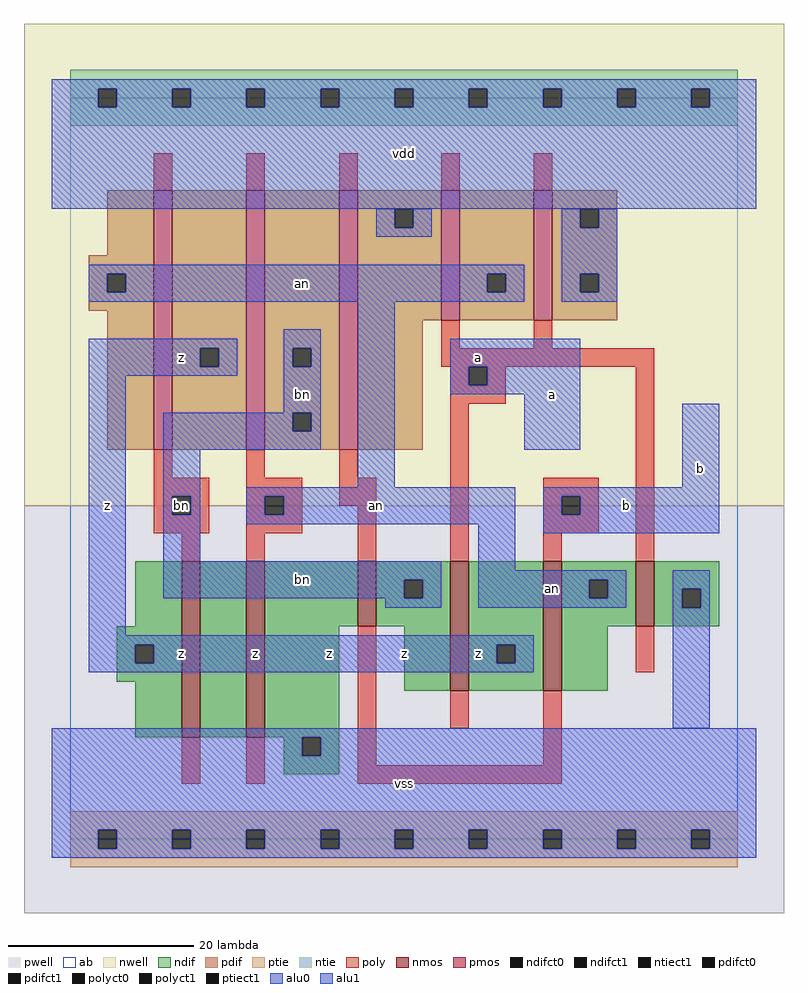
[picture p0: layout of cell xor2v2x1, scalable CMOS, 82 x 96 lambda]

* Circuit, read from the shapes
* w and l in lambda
.subckt xor2v2x1 a an b bn vdd vss z
M1 n1 bn z vss nfet w=19 l=2
M2 vss an n1 vss nfet w=19 l=2
M3 bn b vss vss nfet w=7 l=2
M4 z a bn vss nfet w=14 l=2
M5 an b z vss nfet w=14 l=2
M6 vss a an vss nfet w=7 l=2
M7 z bn an vdd pfet w=28 l=2
M8 bn an z vdd pfet w=28 l=2
M9 vdd b bn vdd pfet w=28 l=2
M10 an a vdd vdd pfet w=14 l=2 m=2
.ends

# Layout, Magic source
magic
tech scmos
<< ab >>
rect 0 0 72 80
<< nwell >>
rect -5 36 77 88
<< pwell >>
rect -5 -8 77 36
<< poly >>
rect 9 70 11 74
rect 19 70 21 74
rect 29 70 31 74
rect 40 70 42 74
rect 50 70 52 74
rect 40 53 42 56
rect 50 53 52 56
rect 40 51 63 53
rect 41 49 43 51
rect 45 49 47 51
rect 41 47 47 49
rect 9 39 11 42
rect 19 39 21 42
rect 29 39 31 42
rect 9 37 15 39
rect 9 35 11 37
rect 13 35 15 37
rect 9 33 15 35
rect 19 37 25 39
rect 19 35 21 37
rect 23 35 25 37
rect 29 36 33 39
rect 19 33 25 35
rect 12 30 14 33
rect 19 30 21 33
rect 31 30 33 36
rect 41 30 43 47
rect 51 37 57 39
rect 51 35 53 37
rect 55 35 57 37
rect 51 33 57 35
rect 51 30 53 33
rect 61 30 63 51
rect 12 6 14 11
rect 19 6 21 11
rect 31 8 33 23
rect 61 18 63 23
rect 41 12 43 16
rect 51 8 53 16
rect 31 6 53 8
<< ndif >>
rect 7 23 12 30
rect 5 21 12 23
rect 5 19 7 21
rect 9 19 12 21
rect 5 17 12 19
rect 7 11 12 17
rect 14 11 19 30
rect 21 23 31 30
rect 33 28 41 30
rect 33 26 36 28
rect 38 26 41 28
rect 33 23 41 26
rect 21 11 29 23
rect 23 9 25 11
rect 27 9 29 11
rect 23 7 29 9
rect 36 16 41 23
rect 43 21 51 30
rect 43 19 46 21
rect 48 19 51 21
rect 43 16 51 19
rect 53 28 61 30
rect 53 26 56 28
rect 58 26 61 28
rect 53 23 61 26
rect 63 27 70 30
rect 63 25 66 27
rect 68 25 70 27
rect 63 23 70 25
rect 53 16 58 23
<< pdif >>
rect 4 63 9 70
rect 2 61 9 63
rect 2 59 4 61
rect 6 59 9 61
rect 2 57 9 59
rect 4 42 9 57
rect 11 53 19 70
rect 11 51 14 53
rect 16 51 19 53
rect 11 42 19 51
rect 21 53 29 70
rect 21 51 24 53
rect 26 51 29 53
rect 21 46 29 51
rect 21 44 24 46
rect 26 44 29 46
rect 21 42 29 44
rect 31 68 40 70
rect 31 66 35 68
rect 37 66 40 68
rect 31 56 40 66
rect 42 61 50 70
rect 42 59 45 61
rect 47 59 50 61
rect 42 56 50 59
rect 52 68 59 70
rect 52 66 55 68
rect 57 66 59 68
rect 52 61 59 66
rect 52 59 55 61
rect 57 59 59 61
rect 52 56 59 59
rect 31 42 38 56
<< alu1 >>
rect -2 81 74 82
rect -2 79 3 81
rect 5 79 11 81
rect 13 79 19 81
rect 21 79 27 81
rect 29 79 35 81
rect 37 79 43 81
rect 45 79 51 81
rect 53 79 59 81
rect 61 79 67 81
rect 69 79 74 81
rect -2 68 74 79
rect 2 53 18 54
rect 2 51 14 53
rect 16 51 18 53
rect 2 50 18 51
rect 2 22 6 50
rect 41 51 55 54
rect 41 49 43 51
rect 45 49 55 51
rect 41 48 55 49
rect 49 42 55 48
rect 66 38 70 47
rect 51 37 70 38
rect 51 35 53 37
rect 55 35 70 37
rect 51 33 70 35
rect 2 21 50 22
rect 2 19 7 21
rect 9 19 46 21
rect 48 19 50 21
rect 2 18 50 19
rect -2 11 74 12
rect -2 9 25 11
rect 27 9 74 11
rect -2 1 74 9
rect -2 -1 3 1
rect 5 -1 11 1
rect 13 -1 19 1
rect 21 -1 27 1
rect 29 -1 35 1
rect 37 -1 43 1
rect 45 -1 51 1
rect 53 -1 59 1
rect 61 -1 67 1
rect 69 -1 74 1
rect -2 -2 74 -1
<< ptie >>
rect 0 1 72 3
rect 0 -1 3 1
rect 5 -1 11 1
rect 13 -1 19 1
rect 21 -1 27 1
rect 29 -1 35 1
rect 37 -1 43 1
rect 45 -1 51 1
rect 53 -1 59 1
rect 61 -1 67 1
rect 69 -1 72 1
rect 0 -3 72 -1
<< ntie >>
rect 0 81 72 83
rect 0 79 3 81
rect 5 79 11 81
rect 13 79 19 81
rect 21 79 27 81
rect 29 79 35 81
rect 37 79 43 81
rect 45 79 51 81
rect 53 79 59 81
rect 61 79 67 81
rect 69 79 72 81
rect 0 77 72 79
<< nmos >>
rect 12 11 14 30
rect 19 11 21 30
rect 31 23 33 30
rect 41 16 43 30
rect 51 16 53 30
rect 61 23 63 30
<< pmos >>
rect 9 42 11 70
rect 19 42 21 70
rect 29 42 31 70
rect 40 56 42 70
rect 50 56 52 70
<< polyct0 >>
rect 11 35 13 37
rect 21 35 23 37
<< polyct1 >>
rect 43 49 45 51
rect 53 35 55 37
<< ndifct0 >>
rect 36 26 38 28
rect 56 26 58 28
rect 66 25 68 27
<< ndifct1 >>
rect 7 19 9 21
rect 25 9 27 11
rect 46 19 48 21
<< ntiect1 >>
rect 3 79 5 81
rect 11 79 13 81
rect 19 79 21 81
rect 27 79 29 81
rect 35 79 37 81
rect 43 79 45 81
rect 51 79 53 81
rect 59 79 61 81
rect 67 79 69 81
<< ptiect1 >>
rect 3 -1 5 1
rect 11 -1 13 1
rect 19 -1 21 1
rect 27 -1 29 1
rect 35 -1 37 1
rect 43 -1 45 1
rect 51 -1 53 1
rect 59 -1 61 1
rect 67 -1 69 1
<< pdifct0 >>
rect 4 59 6 61
rect 24 51 26 53
rect 24 44 26 46
rect 35 66 37 68
rect 45 59 47 61
rect 55 66 57 68
rect 55 59 57 61
<< pdifct1 >>
rect 14 51 16 53
<< alu0 >>
rect 33 66 35 68
rect 37 66 39 68
rect 33 65 39 66
rect 53 66 55 68
rect 57 66 59 68
rect 2 61 49 62
rect 2 59 4 61
rect 6 59 45 61
rect 47 59 49 61
rect 2 58 49 59
rect 53 61 59 66
rect 53 59 55 61
rect 57 59 59 61
rect 53 58 59 59
rect 23 53 27 55
rect 23 51 24 53
rect 26 51 27 53
rect 23 46 27 51
rect 10 44 24 46
rect 26 44 27 46
rect 10 42 27 44
rect 10 37 14 42
rect 31 38 35 58
rect 10 35 11 37
rect 13 35 14 37
rect 10 30 14 35
rect 19 37 48 38
rect 19 35 21 37
rect 23 35 48 37
rect 19 34 48 35
rect 10 28 40 30
rect 10 26 36 28
rect 38 26 40 28
rect 34 25 40 26
rect 44 29 48 34
rect 44 28 60 29
rect 44 26 56 28
rect 58 26 60 28
rect 44 25 60 26
rect 65 27 69 29
rect 65 25 66 27
rect 68 25 69 27
rect 65 12 69 25
<< labels >>
rlabel polyct0 12 36 12 36 6 bn
rlabel alu0 25 48 25 48 6 bn
rlabel alu0 33 36 33 36 6 an
rlabel alu0 25 28 25 28 6 bn
rlabel alu0 25 60 25 60 6 an
rlabel alu0 52 27 52 27 6 an
rlabel alu1 12 20 12 20 6 z
rlabel alu1 4 36 4 36 6 z
rlabel alu1 12 52 12 52 6 z
rlabel alu1 28 20 28 20 6 z
rlabel alu1 20 20 20 20 6 z
rlabel alu1 36 6 36 6 6 vss
rlabel alu1 44 20 44 20 6 z
rlabel alu1 36 20 36 20 6 z
rlabel alu1 44 52 44 52 6 a
rlabel alu1 52 48 52 48 6 a
rlabel alu1 36 74 36 74 6 vdd
rlabel alu1 60 36 60 36 6 b
rlabel alu1 68 40 68 40 6 b
<< end >>
